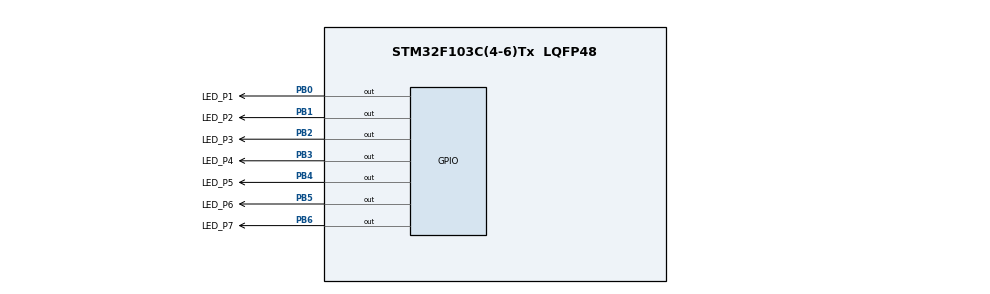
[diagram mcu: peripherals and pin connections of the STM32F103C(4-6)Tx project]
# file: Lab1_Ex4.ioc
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Mcu.Family=STM32F1
Mcu.Name=STM32F103C(4-6)Tx
Mcu.Package=LQFP48
NVIC.PriorityGroup=NVIC_PRIORITYGROUP_4
PB0.GPIO_Label=LED_P1
PB0.Signal=GPIO_Output
PB1.GPIO_Label=LED_P2
PB1.Signal=GPIO_Output
PB2.GPIO_Label=LED_P3
PB2.Signal=GPIO_Output
PB3.GPIO_Label=LED_P4
PB3.Signal=GPIO_Output
PB4.GPIO_Label=LED_P5
PB4.Signal=GPIO_Output
PB5.GPIO_Label=LED_P6
PB5.Signal=GPIO_Output
PB6.GPIO_Label=LED_P7
PB6.Signal=GPIO_Output
ProjectManager.HeapSize=0x200
ProjectManager.StackSize=0x400
ProjectManager.TargetToolchain=STM32CubeIDE
RCC.APB1Freq_Value=8000000
RCC.APB2Freq_Value=8000000
VP_SYS_VS_ND.Mode=No_Debug
board=custom

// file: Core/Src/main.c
/* USER CODE BEGIN Header */
/**
  ******************************************************************************
  * @file           : main.c
  * @brief          : Main program body
  ******************************************************************************
  * @attention
  *
  * <h2><center>&copy; Copyright (c) 2022 STMicroelectronics.
  * All rights reserved.</center></h2>
  *
  * This software component is licensed by ST under BSD 3-Clause license,
  * the "License"; You may not use this file except in compliance with the
  * License. You may obtain a copy of the License at:
  *                        opensource.org/licenses/BSD-3-Clause
  *
  ******************************************************************************
  */
/* USER CODE END Header */
#include "main.h"

void SystemClock_Config(void);
static void MX_GPIO_Init(void);

int main(void)
{

  /* MCU Configuration--------------------------------------------------------*/

  /* Reset of all peripherals, Initializes the Flash interface and the Systick. */
  HAL_Init();

  /* Configure the system clock */
  SystemClock_Config();

  /* Initialize all configured peripherals */
  MX_GPIO_Init();
  /* USER CODE BEGIN 2 */
  void display7SEG(int counter) {
  	/* Khoi tao mot day gom gia tri bit de hien thi cac chu so lan luot tu 0 toi 9 */
  	unsigned char disp_arr[10] = {0x40, 0x79, 0x24, 0x30, 0x19, 0x12, 0x02, 0x78, 0x00, 0x10};
  	/* Khoi tao bien "varr" chua gia tri bit 7 doan cua bien "counter" de hien thi con so can hien thi va bien "bit_var" */
  	unsigned char bit_var, varr = disp_arr[counter];

  	/* Doi voi tung doan segment, bien bit_var se lay gia tri bit cua segment do de hien thi den (0 -> Sang, 1 -> Tat) */

  	bit_var = varr & 0x01; /* Den P1 */
  	HAL_GPIO_WritePin(LED_P1_GPIO_Port, LED_P1_Pin, bit_var);

  	bit_var = (varr>>1) & 0x01; /* Den P2 */
  	HAL_GPIO_WritePin(LED_P2_GPIO_Port, LED_P2_Pin, bit_var);

  	bit_var = (varr>>2) & 0x01; /* Den P3 */
  	HAL_GPIO_WritePin(LED_P3_GPIO_Port, LED_P3_Pin, bit_var);

  	bit_var = (varr>>3) & 0x01; /* Den P4 */
  	HAL_GPIO_WritePin(LED_P4_GPIO_Port, LED_P4_Pin, bit_var);

  	bit_var = (varr>>4) & 0x01; /* Den P5 */
  	HAL_GPIO_WritePin(LED_P5_GPIO_Port, LED_P5_Pin, bit_var);

  	bit_var = (varr>>5) & 0x01; /* Den P6 */
  	HAL_GPIO_WritePin(LED_P6_GPIO_Port, LED_P6_Pin, bit_var);

  	bit_var = (varr>>6) & 0x01; /* Den P7 */
  	HAL_GPIO_WritePin(LED_P7_GPIO_Port, LED_P7_Pin, bit_var);
  }
  /* USER CODE END 2 */

  /* Infinite loop */
  /* USER CODE BEGIN WHILE */
  int counter = 0;
  while (1)
  {
    /* USER CODE END WHILE */
    /* USER CODE BEGIN 3 */
	  if (counter >= 10) counter = 0;
	  display7SEG(counter++);
	  HAL_Delay(1000);
  }
  /* USER CODE END 3 */
}

void SystemClock_Config(void)
{
  RCC_OscInitTypeDef RCC_OscInitStruct = {0};
  RCC_ClkInitTypeDef RCC_ClkInitStruct = {0};

  /** Initializes the RCC Oscillators according to the specified parameters
  * in the RCC_OscInitTypeDef structure.
  */
  RCC_OscInitStruct.OscillatorType = RCC_OSCILLATORTYPE_HSI;
  RCC_OscInitStruct.HSIState = RCC_HSI_ON;
  RCC_OscInitStruct.HSICalibrationValue = RCC_HSICALIBRATION_DEFAULT;
  RCC_OscInitStruct.PLL.PLLState = RCC_PLL_NONE;
  if (HAL_RCC_OscConfig(&RCC_OscInitStruct) != HAL_OK)
  {
    Error_Handler();
  }
  /** Initializes the CPU, AHB and APB buses clocks
  */
  RCC_ClkInitStruct.ClockType = RCC_CLOCKTYPE_HCLK|RCC_CLOCKTYPE_SYSCLK
                              |RCC_CLOCKTYPE_PCLK1|RCC_CLOCKTYPE_PCLK2;
  RCC_ClkInitStruct.SYSCLKSource = RCC_SYSCLKSOURCE_HSI;
  RCC_ClkInitStruct.AHBCLKDivider = RCC_SYSCLK_DIV1;
  RCC_ClkInitStruct.APB1CLKDivider = RCC_HCLK_DIV1;
  RCC_ClkInitStruct.APB2CLKDivider = RCC_HCLK_DIV1;

  if (HAL_RCC_ClockConfig(&RCC_ClkInitStruct, FLASH_LATENCY_0) != HAL_OK)
  {
    Error_Handler();
  }
}

static void MX_GPIO_Init(void)
{
  GPIO_InitTypeDef GPIO_InitStruct = {0};

  /* GPIO Ports Clock Enable */
  __HAL_RCC_GPIOB_CLK_ENABLE();

  /*Configure GPIO pin Output Level */
  HAL_GPIO_WritePin(GPIOB, LED_P1_Pin|LED_P2_Pin|LED_P3_Pin|LED_P4_Pin
                          |LED_P5_Pin|LED_P6_Pin|LED_P7_Pin, GPIO_PIN_RESET);

  /*Configure GPIO pins : LED_P1_Pin LED_P2_Pin LED_P3_Pin LED_P4_Pin
                           LED_P5_Pin LED_P6_Pin LED_P7_Pin */
  GPIO_InitStruct.Pin = LED_P1_Pin|LED_P2_Pin|LED_P3_Pin|LED_P4_Pin
                          |LED_P5_Pin|LED_P6_Pin|LED_P7_Pin;
  GPIO_InitStruct.Mode = GPIO_MODE_OUTPUT_PP;
  GPIO_InitStruct.Pull = GPIO_NOPULL;
  GPIO_InitStruct.Speed = GPIO_SPEED_FREQ_LOW;
  HAL_GPIO_Init(GPIOB, &GPIO_InitStruct);

}

void Error_Handler(void)
{
  __disable_irq();
  while (1)
  {
  }
}

/************************ (C) COPYRIGHT STMicroelectronics *****END OF FILE****/
